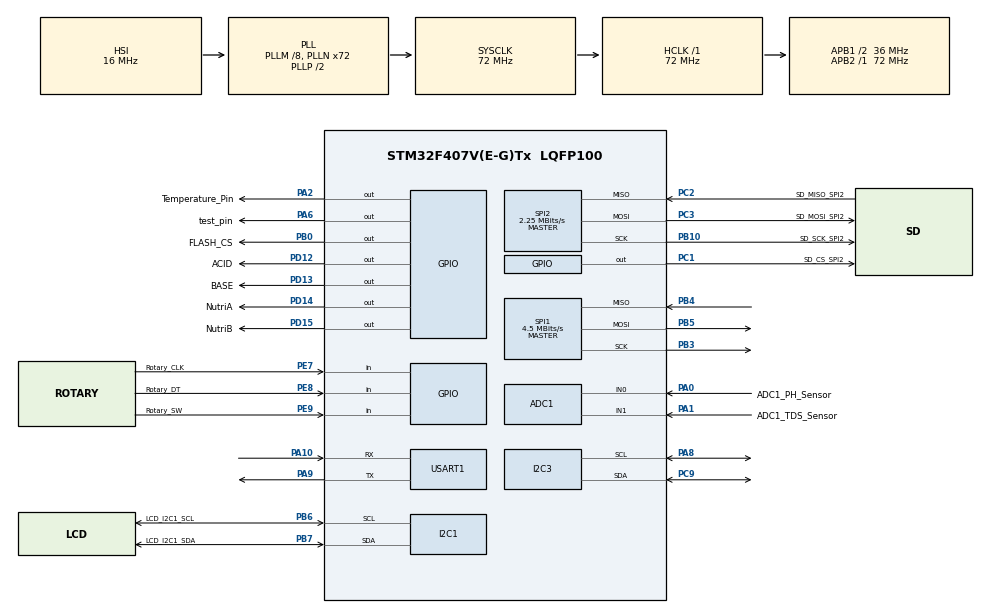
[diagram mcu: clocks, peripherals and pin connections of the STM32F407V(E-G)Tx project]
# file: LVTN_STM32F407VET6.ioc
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ADC1.Channel-1\#ChannelRegularConversion=ADC_CHANNEL_0
ADC1.Channel-3\#ChannelRegularConversion=ADC_CHANNEL_1
ADC1.ClockPrescaler=ADC_CLOCK_SYNC_PCLK_DIV4
ADC1.ContinuousConvMode=ENABLE
ADC1.InjNumberOfConversion=0
ADC1.NbrOfConversion=2
ADC1.NbrOfConversionFlag=1
ADC1.Rank-1\#ChannelRegularConversion=1
ADC1.Rank-3\#ChannelRegularConversion=2
ADC1.SamplingTime-1\#ChannelRegularConversion=ADC_SAMPLETIME_144CYCLES
ADC1.SamplingTime-3\#ChannelRegularConversion=ADC_SAMPLETIME_28CYCLES
ADC1.ScanConvMode=ENABLE
ADC1.master=1
Dma.Request0=USART1_RX
Dma.USART1_RX.0.Direction=DMA_PERIPH_TO_MEMORY
Dma.USART1_RX.0.FIFOMode=DMA_FIFOMODE_DISABLE
Dma.USART1_RX.0.Instance=DMA2_Stream2
Dma.USART1_RX.0.MemDataAlignment=DMA_MDATAALIGN_BYTE
Dma.USART1_RX.0.MemInc=DMA_MINC_ENABLE
Dma.USART1_RX.0.Mode=DMA_NORMAL
Dma.USART1_RX.0.PeriphDataAlignment=DMA_PDATAALIGN_BYTE
Dma.USART1_RX.0.PeriphInc=DMA_PINC_DISABLE
Dma.USART1_RX.0.Priority=DMA_PRIORITY_LOW
FATFS._USE_LFN=1
IWDG.Prescaler=IWDG_PRESCALER_256
IWDG.Reload=2499
Mcu.Family=STM32F4
Mcu.Name=STM32F407V(E-G)Tx
Mcu.Package=LQFP100
NVIC.DMA2_Stream2_IRQn=true\:0\:0\:false\:false\:true\:false\:true\:true
NVIC.PriorityGroup=NVIC_PRIORITYGROUP_4
NVIC.TIM4_IRQn=true\:0\:0\:false\:false\:true\:true\:true\:true
NVIC.USART1_IRQn=true\:0\:0\:false\:false\:true\:true\:true\:true
PA0-WKUP.GPIO_Label=ADC1_PH_Sensor
PA0-WKUP.Signal=ADCx_IN0
PA1.GPIO_Label=ADC1_TDS_Sensor
PA1.Signal=ADCx_IN1
PA10.Mode=Asynchronous
PA10.Signal=USART1_RX
PA13.Mode=Serial_Wire
PA13.Signal=SYS_JTMS-SWDIO
PA14.Mode=Serial_Wire
PA14.Signal=SYS_JTCK-SWCLK
PA2.GPIO_Label=Temperature_Pin
PA2.Signal=GPIO_Output
PA6.GPIO_Label=test_pin
PA6.Signal=GPIO_Output
PA8.Mode=I2C
PA8.Signal=I2C3_SCL
PA9.Mode=Asynchronous
PA9.Signal=USART1_TX
PB0.GPIO_Label=FLASH_CS
PB0.Signal=GPIO_Output
PB10.GPIO_Label=SD_SCK_SPI2
PB10.Mode=Full_Duplex_Master
PB10.Signal=SPI2_SCK
PB3.Mode=Full_Duplex_Master
PB3.Signal=SPI1_SCK
PB4.Mode=Full_Duplex_Master
PB4.Signal=SPI1_MISO
PB5.Mode=Full_Duplex_Master
PB5.Signal=SPI1_MOSI
PB6.GPIO_Label=LCD_I2C1_SCL
PB6.Mode=I2C
PB6.Signal=I2C1_SCL
PB7.GPIO_Label=LCD_I2C1_SDA
PB7.Mode=I2C
PB7.Signal=I2C1_SDA
PC1.GPIO_Label=SD_CS_SPI2
PC1.Signal=GPIO_Output
PC14-OSC32_IN.Mode=LSE-External-Clock-Source
PC14-OSC32_IN.Signal=RCC_OSC32_IN
PC15-OSC32_OUT.Mode=LSE-External-Clock-Source
PC15-OSC32_OUT.Signal=RCC_OSC32_OUT
PC2.GPIO_Label=SD_MISO_SPI2
PC2.Mode=Full_Duplex_Master
PC2.Signal=SPI2_MISO
PC3.GPIO_Label=SD_MOSI_SPI2
PC3.Mode=Full_Duplex_Master
PC3.Signal=SPI2_MOSI
PC9.Mode=I2C
PC9.Signal=I2C3_SDA
PD12.GPIO_Label=ACID
PD12.PinState=GPIO_PIN_SET
PD12.Signal=GPIO_Output
PD13.GPIO_Label=BASE
PD13.PinState=GPIO_PIN_SET
PD13.Signal=GPIO_Output
PD14.GPIO_Label=NutriA
PD14.PinState=GPIO_PIN_SET
PD14.Signal=GPIO_Output
PD15.GPIO_Label=NutriB
PD15.PinState=GPIO_PIN_SET
PD15.Signal=GPIO_Output
PE7.GPIO_Label=Rotary_CLK
PE7.GPIO_PuPd=GPIO_NOPULL
PE7.Signal=GPIO_Input
PE8.GPIO_Label=Rotary_DT
PE8.GPIO_PuPd=GPIO_NOPULL
PE8.Signal=GPIO_Input
PE9.GPIO_Label=Rotary_SW
PE9.GPIO_PuPd=GPIO_NOPULL
PE9.Signal=GPIO_Input
PH0-OSC_IN.Mode=HSE-External-Oscillator
PH0-OSC_IN.Signal=RCC_OSC_IN
PH1-OSC_OUT.Mode=HSE-External-Oscillator
PH1-OSC_OUT.Signal=RCC_OSC_OUT
ProjectManager.HeapSize=0x200
ProjectManager.StackSize=0x400
ProjectManager.TargetToolchain=STM32CubeIDE
RCC.48MHZClocksFreq_Value=36000000
RCC.AHBFreq_Value=72000000
RCC.APB1CLKDivider=RCC_HCLK_DIV2
RCC.APB1Freq_Value=36000000
RCC.APB1TimFreq_Value=72000000
RCC.APB2Freq_Value=72000000
RCC.APB2TimFreq_Value=72000000
RCC.CortexFreq_Value=72000000
RCC.HCLKFreq_Value=72000000
RCC.HSE_VALUE=25000000
RCC.HSI_VALUE=16000000
RCC.LSE_VALUE=32768
RCC.PLLM=8
RCC.PLLN=72
RCC.SYSCLKFreq_VALUE=72000000
RCC.SYSCLKSource=RCC_SYSCLKSOURCE_PLLCLK
RCC.VCOOutputFreq_Value=144000000
RTC.Date=23
RTC.Hours=10
RTC.Minutes=0
RTC.Month=RTC_MONTH_MARCH
RTC.WeekDay=RTC_WEEKDAY_THURSDAY
RTC.Year=23
SH.ADCx_IN0.0=ADC1_IN0,IN0
SH.ADCx_IN1.0=ADC1_IN1,IN1
SPI1.BaudRatePrescaler=SPI_BAUDRATEPRESCALER_16
SPI1.CalculateBaudRate=4.5 MBits/s
SPI1.Direction=SPI_DIRECTION_2LINES
SPI1.Mode=SPI_MODE_MASTER
SPI1.VirtualType=VM_MASTER
SPI2.BaudRatePrescaler=SPI_BAUDRATEPRESCALER_16
SPI2.CalculateBaudRate=2.25 MBits/s
SPI2.Direction=SPI_DIRECTION_2LINES
SPI2.Mode=SPI_MODE_MASTER
SPI2.VirtualType=VM_MASTER
TIM4.Period=14400-1
TIM4.Prescaler=50000-1
TIM6.Period=0xffff-1
TIM6.Prescaler=72-1
TIM6.TIM_MasterOutputTrigger=TIM_TRGO_RESET
USART1.VirtualMode=VM_ASYNC
VP_FATFS_VS_Generic.Mode=User_defined
VP_IWDG_VS_IWDG.Mode=IWDG_Activate
VP_RTC_VS_RTC_Activate.Mode=RTC_Enabled
VP_RTC_VS_RTC_Calendar.Mode=RTC_Calendar
VP_TIM4_VS_ClockSourceINT.Mode=Internal
VP_TIM6_VS_ClockSourceINT.Mode=Enable_Timer
board=custom

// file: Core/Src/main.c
/* USER CODE BEGIN Header */
/**
  ******************************************************************************
  * @file           : main.c
  * @brief          : Main program body
  ******************************************************************************
  * @attention
  *
  * Copyright (c) 2023 STMicroelectronics.
  * All rights reserved.
  *
  * This software is licensed under terms that can be found in the LICENSE file
  * in the root directory of this software component.
  * If no LICENSE file comes with this software, it is provided AS-IS.
  *
  ******************************************************************************
  */
/* USER CODE END Header */
#include "main.h"
#include "fatfs.h"

/* USER CODE BEGIN Includes */
#include "sd_card.h"
#include "common.h"
#include "i2c-lcd.h"
#include <stdio.h>
#include "w25qxx.h"
#include "lcd_menu.h"
#include "ds1307.h"
/* USER CODE END Includes */

ADC_HandleTypeDef hadc1;

I2C_HandleTypeDef hi2c1;
I2C_HandleTypeDef hi2c3;

IWDG_HandleTypeDef hiwdg;

RTC_HandleTypeDef hrtc;

SPI_HandleTypeDef hspi1;
SPI_HandleTypeDef hspi2;

TIM_HandleTypeDef htim4;
TIM_HandleTypeDef htim6;

UART_HandleTypeDef huart1;
DMA_HandleTypeDef hdma_usart1_rx;

void SystemClock_Config(void);
static void MX_GPIO_Init(void);
static void MX_DMA_Init(void);
static void MX_USART1_UART_Init(void);
static void MX_ADC1_Init(void);
static void MX_I2C1_Init(void);
static void MX_TIM4_Init(void);
static void MX_IWDG_Init(void);
static void MX_TIM6_Init(void);
static void MX_SPI2_Init(void);
static void MX_SPI1_Init(void);
static void MX_I2C3_Init(void);
static void MX_RTC_Init(void);

/* USER CODE BEGIN 0 */
/*=====================================COMMON=================================*/
#define SIZEOF_COMMAND 1024
#define UART1_BUFFER_SIZE 1024

uint16_t time_tds = 0;
uint16_t time_ph = 0;

float TDS = 0,TDS_THR= 0,PH = 0,PH_THR = 0,Temperature = 0;

float TDS_SetPoint = 0,TDS_THR_SetPoint = 0,PH_THR_SetPoint = 0,PH_SetPoint = 0;

uint8_t config_wifi_flag = 0;
uint8_t save_sd_flag = 0;
uint8_t from_web_flag = 0;

float   esp32_stm32_SetPoint[] = {0};
int     esp32_stm32_History[] = {0};

//uint8_t SD_Write[] = "";			//Store SD data when Write to SD
uint8_t SD_Read[1024];							//Store SD data Read from SD
uint8_t FileName[20];							//Name of File namme
uint8_t UART1_TEMPBUFFER[SIZEOF_COMMAND];		//Temp buffer when receive data UART1
uint8_t UART1_MAINBUFFER[UART1_BUFFER_SIZE];	//MAIN buffer store data UART1

void delay_us(uint16_t time)
{
    __HAL_TIM_SET_COUNTER(&htim6,0);
    while ((__HAL_TIM_GET_COUNTER(&htim6))<time);
}

void Save_SetPoint(Save_Flash_Type tp);
/*=====================================COMMON_END=================================*/
//
//
//
//
/*=====================================UART1=================================*/
typedef enum
{
	Value,
	Volume,
	WifiConfig,
}Message_type;
char buffer_send[100];

void SEND_UART1(char *String)
{
	HAL_UART_Transmit(&huart1,(uint8_t*)String,strlen(String), 1000);
}

void HAL_UARTEx_RxEventCallback(UART_HandleTypeDef *huart, uint16_t Size)
{
	memset(UART1_MAINBUFFER,0,strlen((char*)UART1_MAINBUFFER));
	if(huart->Instance == USART1)
	{
		memcpy(UART1_MAINBUFFER,UART1_TEMPBUFFER, Size);
		HAL_UARTEx_ReceiveToIdle_DMA(&huart1,UART1_TEMPBUFFER,SIZEOF_COMMAND);
		__HAL_DMA_DISABLE_IT(&hdma_usart1_rx,DMA_IT_HT);
	}

	if(!strcmp(UART1_MAINBUFFER,"Config_Wifi_done"))
	{
		HAL_UART_Transmit(&huart1, UART1_MAINBUFFER,strlen((char*)UART1_MAINBUFFER), 1000);
		config_wifi_flag = 1;
	}

	if(UART1_MAINBUFFER[2] == 80)
	{
//		SEND_UART1(UART1_MAINBUFFER);

		GET_VALUE_FROM_ESP32(UART1_MAINBUFFER);

	}
	memset(UART1_MAINBUFFER,0,Size);

}

void Handle_value_send(Message_type tp)
{
	char msg_send[100];

	if(tp == Value)
	{
		memset(msg_send,0,strlen(msg_send));
		sprintf(msg_send,"{\"ID\":\"123456789\",\"PH\":\"%.2f\",\"TDS\":\"%.0f\",\"Temp\":\"%.2f\"}",PH,TDS,Temperature);
		SD_save(msg_send);
		SEND_UART1(msg_send);
	}
	else if(tp == WifiConfig)
	{
		SEND_UART1("wificonfigmode");
	}
}
/*=====================================PH,TDS_BEGIN=================================*/
uint16_t ADC_Value[2] = {0};
int ADC_PH_4 = 0, ADC_PH_7 = 0;
float 	ph_a_value = 0,ph_b_value = 0,tds_k_value = 0;
void get_adc();
void PH_Calibration()
{
		//Ax+B = y => ADC_PH_4 - ADC_PH_7 = 640
	get_adc();

	  if(ADC_Value[0] > 1540 && ADC_Value[0] < 2180)
	  {
		  ADC_PH_7 = ADC_Value[0];
		  ADC_PH_4 = ADC_PH_7 + 640;
	    }
	    else if(ADC_Value[0] < 2820 && ADC_Value[0] > 2180)
	    {
	    	ADC_PH_4 = ADC_Value[0];
	    	ADC_PH_7 = ADC_PH_4 - 640;
	      }

	  ph_a_value = (float)(3/(float)(ADC_PH_7 - ADC_PH_4));
	  ph_b_value = (float)((4 - (ph_a_value*(float)ADC_PH_4)));

}
float PH_Calculator(float A, float B, uint16_t adc)
{
	return (float)(adc*A + B);
}

void TDS_Calibration()
{
	get_adc();

	tds_k_value = (1000/(float)ADC_Value[1]);
}

float TDS_Calculator(float k, uint16_t adc)
{
	return (float)(k*adc);
}

/*=====================================PH,TDS_END=================================*/

/*=====================================Flash_Start=================================*/

void Save_SetPoint(Save_Flash_Type tp)
{

	if(tp == flash_setpoint)
	{
		time_tds = 80;
		time_ph = 80;
		HAL_Delay(10);
		W25qxx_EraseSector(1);
		W25qxx_EraseSector(2);
		W25qxx_EraseSector(3);
		W25qxx_EraseSector(4);
		W25qxx_WriteSector(&PH_SetPoint, 1, 0, 4);
		W25qxx_WriteSector(&PH_THR_SetPoint, 2, 0, 4);
		W25qxx_WriteSector(&TDS_SetPoint, 3, 0, 4);
		W25qxx_WriteSector(&TDS_THR_SetPoint, 4, 0, 4);
	}
	else if(tp ==flash_calibration_ph)
	{
		W25qxx_EraseSector(5);
		W25qxx_EraseSector(6);
		W25qxx_WriteSector(&ph_a_value, 5, 0, 4);
		W25qxx_WriteSector(&ph_b_value, 6, 0, 4);
	}
	else if (tp == flash_calibration_tds)
	{
		W25qxx_EraseSector(7);
		W25qxx_WriteSector(&tds_k_value, 7, 0, 4);

	}

}
void Read_SetPoint(Save_Flash_Type tp)
{
	if(tp == flash_setpoint)
	{
		W25qxx_ReadSector(&PH_SetPoint, 1, 0, 4);
		W25qxx_ReadSector(&PH_THR_SetPoint, 2, 0, 4);
		W25qxx_ReadSector(&TDS_SetPoint, 3, 0, 4);
		W25qxx_ReadSector(&TDS_THR_SetPoint, 4, 0, 4);
	}
	else if(tp == flash_calibration_ph)
	{
		W25qxx_ReadSector(&ph_a_value, 5, 0, 4);
		W25qxx_ReadSector(&ph_b_value, 6, 0, 4);
	}
	else if (tp == flash_calibration_tds)
	{
		W25qxx_ReadSector(&tds_k_value, 7, 0, 4);
	}
}

/*=====================================Flash_End=================================*/

/*=====================================DS18B20_Start=================================*/
uint8_t Temp_byte1, Temp_byte2;
uint16_t TEMP;
#define DS18B20_PORT Temperature_Pin_GPIO_Port
#define DS18B20_PIN Temperature_Pin_Pin

void Set_Pin_Output (GPIO_TypeDef *GPIOx, uint16_t GPIO_Pin)
{
	GPIO_InitTypeDef GPIO_InitStruct = {0};
	GPIO_InitStruct.Pin = GPIO_Pin;
	GPIO_InitStruct.Mode = GPIO_MODE_OUTPUT_PP;
	GPIO_InitStruct.Speed = GPIO_SPEED_FREQ_LOW;
	HAL_GPIO_Init(GPIOx, &GPIO_InitStruct);
}
void Set_Pin_Input (GPIO_TypeDef *GPIOx, uint16_t GPIO_Pin)
{
	GPIO_InitTypeDef GPIO_InitStruct = {0};
	GPIO_InitStruct.Pin = GPIO_Pin;
	GPIO_InitStruct.Mode = GPIO_MODE_INPUT;
	GPIO_InitStruct.Pull = GPIO_PULLUP;
	HAL_GPIO_Init(GPIOx, &GPIO_InitStruct);
}

uint8_t DS18B20_Start (void)
{
	uint8_t Response = 0;
	Set_Pin_Output(DS18B20_PORT, DS18B20_PIN);   // set the pin as output
	HAL_GPIO_WritePin (DS18B20_PORT, DS18B20_PIN, 0);  // pull the pin low
	delay_us(480);   // delay according to datasheet

	Set_Pin_Input(DS18B20_PORT, DS18B20_PIN);    // set the pin as input
	delay_us(80);    // delay according to datasheet

	if (!(HAL_GPIO_ReadPin (DS18B20_PORT, DS18B20_PIN))) Response = 1;    // if the pin is low i.e the presence pulse is detected
	else Response = -1;

	delay_us(400); // 480 us delay totally.

	return Response;
}

void DS18B20_Write (uint8_t data)
{
	Set_Pin_Output(DS18B20_PORT, DS18B20_PIN);  // set as output

	for (int i=0; i<8; i++)
	{
		if ((data & (1<<i))!=0)  // if the bit is high
		{
			// write 1

			Set_Pin_Output(DS18B20_PORT, DS18B20_PIN);  // set as output
			HAL_GPIO_WritePin (DS18B20_PORT, DS18B20_PIN, 0);  // pull the pin LOW
			delay_us(1);  // wait for 1 us

			Set_Pin_Input(DS18B20_PORT, DS18B20_PIN);  // set as input
			delay_us(50);  // wait for 60 us
		}

		else  // if the bit is low
		{
			// write 0
			Set_Pin_Output(DS18B20_PORT, DS18B20_PIN);
			HAL_GPIO_WritePin (DS18B20_PORT, DS18B20_PIN, 0);  // pull the pin LOW
			delay_us(50);  // wait for 60 us
			Set_Pin_Input(DS18B20_PORT, DS18B20_PIN);
		}
	}
}

uint8_t DS18B20_Read (void)
{
	uint8_t value=0;

	Set_Pin_Input(DS18B20_PORT, DS18B20_PIN);

	for (int i=0;i<8;i++)
	{
		Set_Pin_Output(DS18B20_PORT, DS18B20_PIN);   // set as output

		HAL_GPIO_WritePin (DS18B20_PORT, DS18B20_PIN, 0);  // pull the data pin LOW
		delay_us(1);  // wait for > 1us

		Set_Pin_Input(DS18B20_PORT, DS18B20_PIN);  // set as input
		if (HAL_GPIO_ReadPin (DS18B20_PORT, DS18B20_PIN))  // if the pin is HIGH
		{
			value |= 1<<i;  // read = 1
		}
		delay_us(50);  // wait for 60 us
	}
	return value;
}

float Get_Temperature_DS18B20()
{
		  DS18B20_Start ();
		  HAL_Delay(1);
		  DS18B20_Write (0xCC);  // skip ROM
		  DS18B20_Write (0x44);  // convert t
		  HAL_Delay (800);

		  DS18B20_Start ();
	      HAL_Delay(1);
	      DS18B20_Write (0xCC);  // skip ROM
	      DS18B20_Write (0xBE);  // Read Scratch-pad
	      Temp_byte1 = DS18B20_Read();
		  Temp_byte2 = DS18B20_Read();
		  TEMP = (Temp_byte2<<8)|Temp_byte1;
		  return (float)TEMP/16;
}
/*=====================================DS18B20_End=================================*/

/*=====================================Interrupt_Start=========================*/

void TDS_Control()
{
	   uint32_t i = 0;
	   if((time_tds%90) == 0)
	   {
		   if(TDS < (TDS_SetPoint-TDS_THR_SetPoint))
		   {
			   HAL_GPIO_WritePin(NutriA_GPIO_Port,NutriA_Pin, GPIO_PIN_RESET);
			   HAL_GPIO_WritePin(NutriB_GPIO_Port,NutriB_Pin, GPIO_PIN_RESET);
			   while(i<14000000)
			   {
				   i++;
			   }

			   HAL_GPIO_WritePin(NutriA_GPIO_Port,NutriA_Pin, GPIO_PIN_SET);
			   HAL_GPIO_WritePin(NutriB_GPIO_Port,NutriB_Pin, GPIO_PIN_SET);
		   }

		   time_tds = 1;
	   }
	   time_tds++;
}

void PH_Control()
{
	   uint32_t i = 0;
	   if((time_ph%90) == 0)
	   {
		   if(PH < (PH_SetPoint-PH_THR_SetPoint))
		   {
			   HAL_GPIO_WritePin(BASE_GPIO_Port,BASE_Pin, GPIO_PIN_RESET);
			   while(i<14000000)
			   {
				   i++;
			   }
			   HAL_GPIO_WritePin(BASE_GPIO_Port,BASE_Pin, GPIO_PIN_SET);
		   }
		   else if(PH > (PH_SetPoint + PH_THR_SetPoint))
		   {
			   HAL_GPIO_WritePin(ACID_GPIO_Port,ACID_Pin, GPIO_PIN_RESET);
			   while(i<14000000)
			   {
				   i++;
			   }
			   HAL_GPIO_WritePin(ACID_GPIO_Port,ACID_Pin, GPIO_PIN_SET);
		   }
		   time_ph = 1;
	   }
	   time_ph++;
}

void HAL_TIM_PeriodElapsedCallback(TIM_HandleTypeDef *htim)
{

	 if(htim->Instance == htim4.Instance)
	 {
	   HAL_GPIO_TogglePin(test_pin_GPIO_Port,test_pin_Pin);
	   Handle_value_send(Value);
	   TDS_Control();
	   PH_Control();

	 }
}
/*=====================================Interrupt_End=========================*/

/*=====================================WIFI_CONFIG_Start=========================*/
void Wifi_Config()
{
	Handle_value_send(WifiConfig);
}

RTC_TimeTypeDef sTime = {0};
RTC_DateTypeDef sDate = {0};

float Ring_Buffer_PH[10]  = {0};
float Ring_Buffer_TDS[10] = {0};
//
void get_time(void)
{
	char tmp_string[100] = {0};
	HAL_RTC_GetTime(&hrtc, &sTime, RTC_FORMAT_BIN);
	HAL_RTC_GetDate(&hrtc, &sDate, RTC_FORMAT_BIN);
	sprintf(tmp_string,"%d/%d/%d- %d:%d:%d\n",sDate.Date,sDate.Month,sDate.Year,sTime.Hours,sTime.Minutes,sTime.Seconds);
	memset(tmp_string,0,strlen(tmp_string));
}
void ADC_Select_CH0 (void)
{
	ADC_ChannelConfTypeDef sConfig = {0};
	  /** Configure for the selected ADC regular channel its corresponding rank in the sequencer and its sample time.
	  */
	  sConfig.Channel = ADC_CHANNEL_0;
	  sConfig.Rank = 1;
	  sConfig.SamplingTime = ADC_SAMPLETIME_144CYCLES;
	  if (HAL_ADC_ConfigChannel(&hadc1, &sConfig) != HAL_OK)
	  {
	    Error_Handler();
	  }
}

void ADC_Select_CH1 (void)
{
	ADC_ChannelConfTypeDef sConfig = {0};
	  /** Configure for the selected ADC regular channel its corresponding rank in the sequencer and its sample time.
	  */
	  sConfig.Channel = ADC_CHANNEL_1;
	  sConfig.Rank = 1;
	  sConfig.SamplingTime = ADC_SAMPLETIME_28CYCLES;
	  if (HAL_ADC_ConfigChannel(&hadc1, &sConfig) != HAL_OK)
	  {
	    Error_Handler();
	  }
}
void get_adc()
{
	ADC_Select_CH0();
	  HAL_ADC_Start(&hadc1);
	  HAL_ADC_PollForConversion(&hadc1, 10);
	  ADC_Value[0] = HAL_ADC_GetValue(&hadc1);
	  HAL_ADC_Stop(&hadc1);
	ADC_Select_CH1();
	  ADC_Select_CH1();
	  HAL_ADC_Start(&hadc1);
	  HAL_ADC_PollForConversion(&hadc1, 10);
	  ADC_Value[1] = HAL_ADC_GetValue(&hadc1);
	  HAL_ADC_Stop(&hadc1);
	}
float PH_average(uint32_t t, float ph)
{
	return (float)(ph/t);
}

float TDS_average(uint32_t t, float tds)
{
	return (float)(tds/t);
}

uint32_t tim 		= 0;
uint32_t tong_ph 	= 0;
uint32_t tong_tds = 0;
float    PH_t 	= 0;
float 	TDS_t 	= 0;
/*=====================================WIFI_CONFIG_End=========================*/

/* USER CODE END 0 */

int main(void)
{

  /* MCU Configuration--------------------------------------------------------*/

  /* Reset of all peripherals, Initializes the Flash interface and the Systick. */
  HAL_Init();

  /* Configure the system clock */
  SystemClock_Config();

  /* Initialize all configured peripherals */
  MX_GPIO_Init();
  MX_DMA_Init();
  MX_USART1_UART_Init();
  MX_FATFS_Init();
  MX_ADC1_Init();
  MX_I2C1_Init();
  MX_TIM4_Init();
  MX_IWDG_Init();
  MX_TIM6_Init();
  MX_SPI2_Init();
  MX_SPI1_Init();
  MX_I2C3_Init();
  MX_RTC_Init();
  /* USER CODE BEGIN 2 */
 //=========================================================================  TESTING

 //=========================================================================  CONFIG_MAIN
  HAL_TIM_Base_Start_IT(&htim4);
  HAL_TIM_Base_Start(&htim6);

  HAL_UARTEx_ReceiveToIdle_DMA(&huart1,UART1_TEMPBUFFER,SIZEOF_COMMAND);
  __HAL_DMA_DISABLE_IT(&hdma_usart1_rx,DMA_IT_HT);
//
  for(int i =0;i<5;i++)
  {
	  HAL_GPIO_TogglePin(test_pin_GPIO_Port,test_pin_Pin);
	  HAL_Delay(200);
  }
  HAL_Delay(50);
  lcd_init();
  Rotary_init();
  lcd_clear();
  W25qxx_Init();

//  Save_SetPoint(flash_setpoint);
//  Save_SetPoint(flash_calibration_tds);
//  Save_SetPoint(flash_calibration_ph);
  Read_SetPoint(flash_setpoint);
  Read_SetPoint(flash_calibration_tds);
  Read_SetPoint(flash_calibration_ph);
  SD_Handling(SD_Read);
//  int co = 0;

  /* USER CODE END 2 */

  /* Infinite loop */
  /* USER CODE BEGIN WHILE */
    while (1)
  {
	  //=========================================================================  TESTING

	  //=========================================================================  CONFIG_MAIN
	  LCD_Display();
      get_adc();
	  PH_t = PH_Calculator(ph_a_value, ph_b_value, ADC_Value[0]);
	  TDS_t = TDS_Calculator(tds_k_value, ADC_Value[1]);
	  tong_ph = tong_ph + PH_t;
	  tong_tds = tong_tds + TDS_t;
	  tim++;
      if(tim == 100)
      {
//    	  PH = PH_Calculator(ph_a_value, ph_b_value, ADC_Value[0]);
//    	  TDS = TDS_Calculator(tds_k_value, ADC_Value[1]);
//    	  Temperature = Get_Temperature_DS18B20();
    	  PH = PH_average(tim, tong_ph);
    	  TDS = TDS_average(tim, tong_tds);
    	  Temperature = Get_Temperature_DS18B20();
    	  tim = 0;
    	  tong_ph = 0;
    	  tong_tds = 0;

      }
//	  Ring_Buffer_PH[tim] = PH_t;
//	  Ring_Buffer_TDS[tim] = TDS_t;
      get_time();
	  HAL_IWDG_Refresh(&hiwdg);

    /* USER CODE END WHILE */

}
}

void SystemClock_Config(void)
{
  RCC_OscInitTypeDef RCC_OscInitStruct = {0};
  RCC_ClkInitTypeDef RCC_ClkInitStruct = {0};

  /** Configure the main internal regulator output voltage
  */
  __HAL_RCC_PWR_CLK_ENABLE();
  __HAL_PWR_VOLTAGESCALING_CONFIG(PWR_REGULATOR_VOLTAGE_SCALE1);

  /** Initializes the RCC Oscillators according to the specified parameters
  * in the RCC_OscInitTypeDef structure.
  */
  RCC_OscInitStruct.OscillatorType = RCC_OSCILLATORTYPE_HSI|RCC_OSCILLATORTYPE_LSI;
  RCC_OscInitStruct.HSIState = RCC_HSI_ON;
  RCC_OscInitStruct.HSICalibrationValue = RCC_HSICALIBRATION_DEFAULT;
  RCC_OscInitStruct.LSIState = RCC_LSI_ON;
  RCC_OscInitStruct.PLL.PLLState = RCC_PLL_ON;
  RCC_OscInitStruct.PLL.PLLSource = RCC_PLLSOURCE_HSI;
  RCC_OscInitStruct.PLL.PLLM = 8;
  RCC_OscInitStruct.PLL.PLLN = 72;
  RCC_OscInitStruct.PLL.PLLP = RCC_PLLP_DIV2;
  RCC_OscInitStruct.PLL.PLLQ = 4;
  if (HAL_RCC_OscConfig(&RCC_OscInitStruct) != HAL_OK)
  {
    Error_Handler();
  }

  /** Initializes the CPU, AHB and APB buses clocks
  */
  RCC_ClkInitStruct.ClockType = RCC_CLOCKTYPE_HCLK|RCC_CLOCKTYPE_SYSCLK
                              |RCC_CLOCKTYPE_PCLK1|RCC_CLOCKTYPE_PCLK2;
  RCC_ClkInitStruct.SYSCLKSource = RCC_SYSCLKSOURCE_PLLCLK;
  RCC_ClkInitStruct.AHBCLKDivider = RCC_SYSCLK_DIV1;
  RCC_ClkInitStruct.APB1CLKDivider = RCC_HCLK_DIV2;
  RCC_ClkInitStruct.APB2CLKDivider = RCC_HCLK_DIV1;

  if (HAL_RCC_ClockConfig(&RCC_ClkInitStruct, FLASH_LATENCY_2) != HAL_OK)
  {
    Error_Handler();
  }
}

static void MX_ADC1_Init(void)
{

  ADC_ChannelConfTypeDef sConfig = {0};

  /** Configure the global features of the ADC (Clock, Resolution, Data Alignment and number of conversion)
  */
  hadc1.Instance = ADC1;
  hadc1.Init.ClockPrescaler = ADC_CLOCK_SYNC_PCLK_DIV4;
  hadc1.Init.Resolution = ADC_RESOLUTION_12B;
  hadc1.Init.ScanConvMode = ENABLE;
  hadc1.Init.ContinuousConvMode = ENABLE;
  hadc1.Init.DiscontinuousConvMode = DISABLE;
  hadc1.Init.ExternalTrigConvEdge = ADC_EXTERNALTRIGCONVEDGE_NONE;
  hadc1.Init.ExternalTrigConv = ADC_SOFTWARE_START;
  hadc1.Init.DataAlign = ADC_DATAALIGN_RIGHT;
  hadc1.Init.NbrOfConversion = 2;
  hadc1.Init.DMAContinuousRequests = DISABLE;
  hadc1.Init.EOCSelection = ADC_EOC_SINGLE_CONV;
  if (HAL_ADC_Init(&hadc1) != HAL_OK)
  {
    Error_Handler();
  }

  /** Configure for the selected ADC regular channel its corresponding rank in the sequencer and its sample time.
  */
//  sConfig.Channel = ADC_CHANNEL_0;
//  sConfig.Rank = 1;
//  sConfig.SamplingTime = ADC_SAMPLETIME_144CYCLES;
//  if (HAL_ADC_ConfigChannel(&hadc1, &sConfig) != HAL_OK)
//  {
//    Error_Handler();
//  }
//
//  /** Configure for the selected ADC regular channel its corresponding rank in the sequencer and its sample time.
//  */
//  sConfig.Channel = ADC_CHANNEL_1;
//  sConfig.Rank = 2;
//  sConfig.SamplingTime = ADC_SAMPLETIME_28CYCLES;
//  if (HAL_ADC_ConfigChannel(&hadc1, &sConfig) != HAL_OK)
//  {
//    Error_Handler();
//  }

}

static void MX_I2C1_Init(void)
{

  hi2c1.Instance = I2C1;
  hi2c1.Init.ClockSpeed = 100000;
  hi2c1.Init.DutyCycle = I2C_DUTYCYCLE_2;
  hi2c1.Init.OwnAddress1 = 0;
  hi2c1.Init.AddressingMode = I2C_ADDRESSINGMODE_7BIT;
  hi2c1.Init.DualAddressMode = I2C_DUALADDRESS_DISABLE;
  hi2c1.Init.OwnAddress2 = 0;
  hi2c1.Init.GeneralCallMode = I2C_GENERALCALL_DISABLE;
  hi2c1.Init.NoStretchMode = I2C_NOSTRETCH_DISABLE;
  if (HAL_I2C_Init(&hi2c1) != HAL_OK)
  {
    Error_Handler();
  }

}

static void MX_I2C3_Init(void)
{

  hi2c3.Instance = I2C3;
  hi2c3.Init.ClockSpeed = 100000;
  hi2c3.Init.DutyCycle = I2C_DUTYCYCLE_2;
  hi2c3.Init.OwnAddress1 = 0;
  hi2c3.Init.AddressingMode = I2C_ADDRESSINGMODE_7BIT;
  hi2c3.Init.DualAddressMode = I2C_DUALADDRESS_DISABLE;
  hi2c3.Init.OwnAddress2 = 0;
  hi2c3.Init.GeneralCallMode = I2C_GENERALCALL_DISABLE;
  hi2c3.Init.NoStretchMode = I2C_NOSTRETCH_DISABLE;
  if (HAL_I2C_Init(&hi2c3) != HAL_OK)
  {
    Error_Handler();
  }

}

static void MX_IWDG_Init(void)
{

  hiwdg.Instance = IWDG;
  hiwdg.Init.Prescaler = IWDG_PRESCALER_256;
  hiwdg.Init.Reload = 2499;
  if (HAL_IWDG_Init(&hiwdg) != HAL_OK)
  {
    Error_Handler();
  }

}

static void MX_RTC_Init(void)
{

  /** Initialize RTC Only
  */
  hrtc.Instance = RTC;
  hrtc.Init.HourFormat = RTC_HOURFORMAT_24;
  hrtc.Init.AsynchPrediv = 127;
  hrtc.Init.SynchPrediv = 255;
  hrtc.Init.OutPut = RTC_OUTPUT_DISABLE;
  hrtc.Init.OutPutPolarity = RTC_OUTPUT_POLARITY_HIGH;
  hrtc.Init.OutPutType = RTC_OUTPUT_TYPE_OPENDRAIN;
  if (HAL_RTC_Init(&hrtc) != HAL_OK)
  {
    Error_Handler();
  }

  /* USER CODE BEGIN Check_RTC_BKUP */
//  if(HAL_RTCEx_BKUPRead(&hrtc, RTC_BKP_DR1) == 0x2608)
//  {
//	  sTime.Hours = 0;
//	  sTime.Minutes = 24;
//	  sTime.Seconds = 0x0;
//	  sTime.DayLightSaving = RTC_DAYLIGHTSAVING_NONE;
//	  sTime.StoreOperation = RTC_STOREOPERATION_RESET;
//	  if (HAL_RTC_SetTime(&hrtc, &sTime, RTC_FORMAT_BCD) != HAL_OK)
//	  {
//	    Error_Handler();
//	  }
//	  sDate.WeekDay = RTC_WEEKDAY_WEDNESDAY;
//	  sDate.Month = RTC_MONTH_MARCH;
//	  sDate.Date = 0x23;
//	  sDate.Year = 0x23;
//
//	  if (HAL_RTC_SetDate(&hrtc, &sDate, RTC_FORMAT_BCD) != HAL_OK)
//	  {
//	    Error_Handler();
//	  }
//	  HAL_RTCEx_BKUPWrite(&hrtc, RTC_BKP_DR1, 0x2608);
//  }
  /* USER CODE END Check_RTC_BKUP */

  /** Initialize RTC and set the Time and Date
  */
//  sTime.Hours = 0x10;
//  sTime.Minutes = 0x40;
//  sTime.Seconds = 0x0;
//  sTime.DayLightSaving = RTC_DAYLIGHTSAVING_NONE;
//  sTime.StoreOperation = RTC_STOREOPERATION_RESET;
//  if (HAL_RTC_SetTime(&hrtc, &sTime, RTC_FORMAT_BCD) != HAL_OK)
//  {
//    Error_Handler();
//  }
//  sDate.WeekDay = RTC_WEEKDAY_FRIDAY;
//  sDate.Month = RTC_MONTH_MARCH;
//  sDate.Date = 0x24;
//  sDate.Year = 0x23;
//
//  if (HAL_RTC_SetDate(&hrtc, &sDate, RTC_FORMAT_BCD) != HAL_OK)
//  {
//    Error_Handler();
//  }

}

static void MX_SPI1_Init(void)
{

  /* SPI1 parameter configuration*/
  hspi1.Instance = SPI1;
  hspi1.Init.Mode = SPI_MODE_MASTER;
  hspi1.Init.Direction = SPI_DIRECTION_2LINES;
  hspi1.Init.DataSize = SPI_DATASIZE_8BIT;
  hspi1.Init.CLKPolarity = SPI_POLARITY_LOW;
  hspi1.Init.CLKPhase = SPI_PHASE_1EDGE;
  hspi1.Init.NSS = SPI_NSS_SOFT;
  hspi1.Init.BaudRatePrescaler = SPI_BAUDRATEPRESCALER_16;
  hspi1.Init.FirstBit = SPI_FIRSTBIT_MSB;
  hspi1.Init.TIMode = SPI_TIMODE_DISABLE;
  hspi1.Init.CRCCalculation = SPI_CRCCALCULATION_DISABLE;
  hspi1.Init.CRCPolynomial = 10;
  if (HAL_SPI_Init(&hspi1) != HAL_OK)
  {
    Error_Handler();
  }

}

static void MX_SPI2_Init(void)
{

  /* SPI2 parameter configuration*/
  hspi2.Instance = SPI2;
  hspi2.Init.Mode = SPI_MODE_MASTER;
  hspi2.Init.Direction = SPI_DIRECTION_2LINES;
  hspi2.Init.DataSize = SPI_DATASIZE_8BIT;
  hspi2.Init.CLKPolarity = SPI_POLARITY_LOW;
  hspi2.Init.CLKPhase = SPI_PHASE_1EDGE;
  hspi2.Init.NSS = SPI_NSS_SOFT;
  hspi2.Init.BaudRatePrescaler = SPI_BAUDRATEPRESCALER_16;
  hspi2.Init.FirstBit = SPI_FIRSTBIT_MSB;
  hspi2.Init.TIMode = SPI_TIMODE_DISABLE;
  hspi2.Init.CRCCalculation = SPI_CRCCALCULATION_DISABLE;
  hspi2.Init.CRCPolynomial = 10;
  if (HAL_SPI_Init(&hspi2) != HAL_OK)
  {
    Error_Handler();
  }

}

static void MX_TIM4_Init(void)
{

  TIM_ClockConfigTypeDef sClockSourceConfig = {0};
  TIM_MasterConfigTypeDef sMasterConfig = {0};

  htim4.Instance = TIM4;
  htim4.Init.Prescaler = 50000-1;
  htim4.Init.CounterMode = TIM_COUNTERMODE_UP;
  htim4.Init.Period = 14400-1;
  htim4.Init.ClockDivision = TIM_CLOCKDIVISION_DIV1;
  htim4.Init.AutoReloadPreload = TIM_AUTORELOAD_PRELOAD_DISABLE;
  if (HAL_TIM_Base_Init(&htim4) != HAL_OK)
  {
    Error_Handler();
  }
  sClockSourceConfig.ClockSource = TIM_CLOCKSOURCE_INTERNAL;
  if (HAL_TIM_ConfigClockSource(&htim4, &sClockSourceConfig) != HAL_OK)
  {
    Error_Handler();
  }
  sMasterConfig.MasterOutputTrigger = TIM_TRGO_RESET;
  sMasterConfig.MasterSlaveMode = TIM_MASTERSLAVEMODE_DISABLE;
  if (HAL_TIMEx_MasterConfigSynchronization(&htim4, &sMasterConfig) != HAL_OK)
  {
    Error_Handler();
  }

}

static void MX_TIM6_Init(void)
{

  TIM_MasterConfigTypeDef sMasterConfig = {0};

  htim6.Instance = TIM6;
  htim6.Init.Prescaler = 72-1;
  htim6.Init.CounterMode = TIM_COUNTERMODE_UP;
  htim6.Init.Period = 0xffff-1;
  htim6.Init.AutoReloadPreload = TIM_AUTORELOAD_PRELOAD_DISABLE;
  if (HAL_TIM_Base_Init(&htim6) != HAL_OK)
  {
    Error_Handler();
  }
  sMasterConfig.MasterOutputTrigger = TIM_TRGO_RESET;
  sMasterConfig.MasterSlaveMode = TIM_MASTERSLAVEMODE_DISABLE;
  if (HAL_TIMEx_MasterConfigSynchronization(&htim6, &sMasterConfig) != HAL_OK)
  {
    Error_Handler();
  }

}

static void MX_USART1_UART_Init(void)
{

  huart1.Instance = USART1;
  huart1.Init.BaudRate = 115200;
  huart1.Init.WordLength = UART_WORDLENGTH_8B;
  huart1.Init.StopBits = UART_STOPBITS_1;
  huart1.Init.Parity = UART_PARITY_NONE;
  huart1.Init.Mode = UART_MODE_TX_RX;
  huart1.Init.HwFlowCtl = UART_HWCONTROL_NONE;
  huart1.Init.OverSampling = UART_OVERSAMPLING_16;
  if (HAL_UART_Init(&huart1) != HAL_OK)
  {
    Error_Handler();
  }

}

static void MX_DMA_Init(void)
{

  /* DMA controller clock enable */
  __HAL_RCC_DMA2_CLK_ENABLE();

  /* DMA interrupt init */
  /* DMA2_Stream2_IRQn interrupt configuration */
  HAL_NVIC_SetPriority(DMA2_Stream2_IRQn, 0, 0);
  HAL_NVIC_EnableIRQ(DMA2_Stream2_IRQn);

}

static void MX_GPIO_Init(void)
{
  GPIO_InitTypeDef GPIO_InitStruct = {0};

  /* GPIO Ports Clock Enable */
  __HAL_RCC_GPIOC_CLK_ENABLE();
  __HAL_RCC_GPIOH_CLK_ENABLE();
  __HAL_RCC_GPIOA_CLK_ENABLE();
  __HAL_RCC_GPIOB_CLK_ENABLE();
  __HAL_RCC_GPIOE_CLK_ENABLE();
  __HAL_RCC_GPIOD_CLK_ENABLE();

  /*Configure GPIO pin Output Level */
  HAL_GPIO_WritePin(SD_CS_SPI2_GPIO_Port, SD_CS_SPI2_Pin, GPIO_PIN_RESET);

  /*Configure GPIO pin Output Level */
  HAL_GPIO_WritePin(GPIOA, Temperature_Pin_Pin|test_pin_Pin, GPIO_PIN_RESET);

  /*Configure GPIO pin Output Level */
  HAL_GPIO_WritePin(FLASH_CS_GPIO_Port, FLASH_CS_Pin, GPIO_PIN_RESET);

  /*Configure GPIO pin Output Level */
  HAL_GPIO_WritePin(GPIOD, ACID_Pin|BASE_Pin|NutriA_Pin|NutriB_Pin, GPIO_PIN_SET);

  /*Configure GPIO pin : SD_CS_SPI2_Pin */
  GPIO_InitStruct.Pin = SD_CS_SPI2_Pin;
  GPIO_InitStruct.Mode = GPIO_MODE_OUTPUT_PP;
  GPIO_InitStruct.Pull = GPIO_NOPULL;
  GPIO_InitStruct.Speed = GPIO_SPEED_FREQ_LOW;
  HAL_GPIO_Init(SD_CS_SPI2_GPIO_Port, &GPIO_InitStruct);

  /*Configure GPIO pins : Temperature_Pin_Pin test_pin_Pin */
  GPIO_InitStruct.Pin = Temperature_Pin_Pin|test_pin_Pin;
  GPIO_InitStruct.Mode = GPIO_MODE_OUTPUT_PP;
  GPIO_InitStruct.Pull = GPIO_NOPULL;
  GPIO_InitStruct.Speed = GPIO_SPEED_FREQ_LOW;
  HAL_GPIO_Init(GPIOA, &GPIO_InitStruct);

  /*Configure GPIO pin : FLASH_CS_Pin */
  GPIO_InitStruct.Pin = FLASH_CS_Pin;
  GPIO_InitStruct.Mode = GPIO_MODE_OUTPUT_PP;
  GPIO_InitStruct.Pull = GPIO_NOPULL;
  GPIO_InitStruct.Speed = GPIO_SPEED_FREQ_LOW;
  HAL_GPIO_Init(FLASH_CS_GPIO_Port, &GPIO_InitStruct);

  /*Configure GPIO pins : Rotary_CLK_Pin Rotary_DT_Pin Rotary_SW_Pin */
  GPIO_InitStruct.Pin = Rotary_CLK_Pin|Rotary_DT_Pin|Rotary_SW_Pin;
  GPIO_InitStruct.Mode = GPIO_MODE_INPUT;
  GPIO_InitStruct.Pull = GPIO_NOPULL;
  HAL_GPIO_Init(GPIOE, &GPIO_InitStruct);

  /*Configure GPIO pins : ACID_Pin BASE_Pin NutriA_Pin NutriB_Pin */
  GPIO_InitStruct.Pin = ACID_Pin|BASE_Pin|NutriA_Pin|NutriB_Pin;
  GPIO_InitStruct.Mode = GPIO_MODE_OUTPUT_PP;
  GPIO_InitStruct.Pull = GPIO_NOPULL;
  GPIO_InitStruct.Speed = GPIO_SPEED_FREQ_LOW;
  HAL_GPIO_Init(GPIOD, &GPIO_InitStruct);

}

void Error_Handler(void)
{
  __disable_irq();
  while (1)
  {
  }
}
